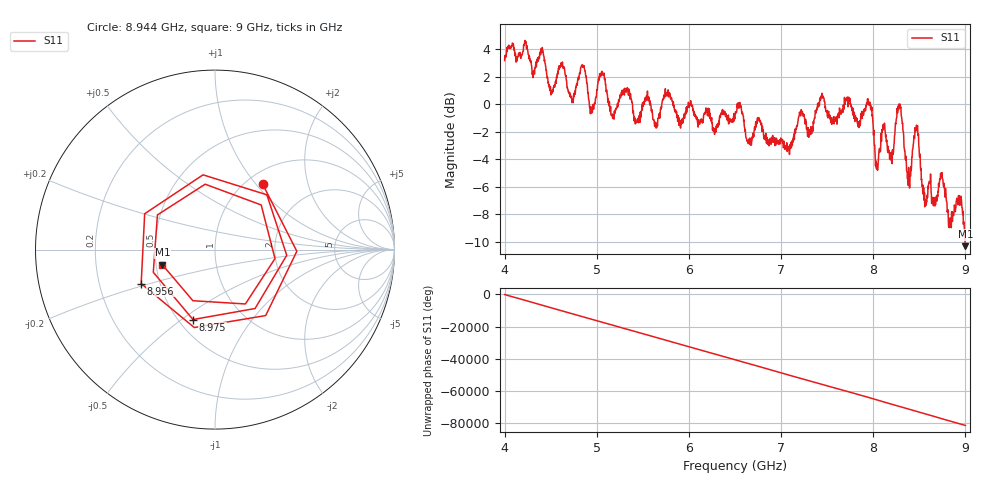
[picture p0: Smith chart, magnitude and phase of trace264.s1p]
! Created with skrf 1.8.0 (http://scikit-rf.org).
# Hz S RI R 50.0
!freq ReS11 ImS11
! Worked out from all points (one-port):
!   1601 points, 4 GHz to 9 GHz, reference 50 ohm
!   lowest |S11| = -10.3 dB at 9 GHz (marker M1), VSWR 1.88, Z = 27 - j5.04 ohm
!   |S11| at or under -10 dB: 8.99649 GHz to end of sweep
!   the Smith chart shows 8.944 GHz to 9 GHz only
!   S11 on the Smith chart (normalised r, x): 8.944 GHz: 1.18, +1.09; 8.956 GHz: 0.39, -0.19; 8.975 GHz: 0.59, -0.55; 9 GHz: 0.54, -0.10
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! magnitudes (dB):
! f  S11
! 4 GHz  3.2
! 4.406 GHz  3.8
! 4.509 GHz  0.9
! 4.625 GHz  2.9
! 4.728 GHz  0.3
! 4.85 GHz  2.8
! 4.944 GHz  -0.4
! 5.056 GHz  2.4
! 5.166 GHz  -0.8
! 5.25 GHz  0.4
! 5.875 GHz  -0.9
! 6.5 GHz  -0.9
! 6.653 GHz  -2.8
! 7.125 GHz  -2.6
! 7.444 GHz  0.8
! 7.75 GHz  0.0
! 7.959 GHz  0.1
! 8.047 GHz  -4.8
! 8.109 GHz  -1.7
! 8.203 GHz  -4.3
! 8.284 GHz  -0.2
! 8.375 GHz  -4.9
! 8.466 GHz  -1.9
! 8.562 GHz  -6.9
! 8.944 GHz  -6.9
! 8.956 GHz  -6.9
! 8.975 GHz  -7.8
! 9 GHz  -10.3
